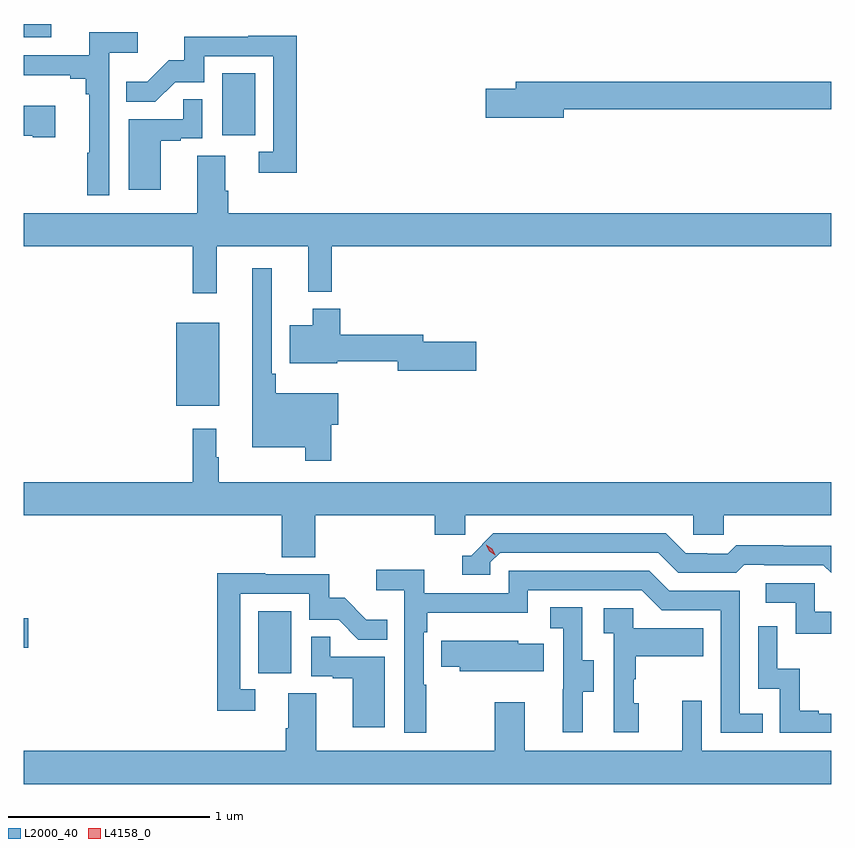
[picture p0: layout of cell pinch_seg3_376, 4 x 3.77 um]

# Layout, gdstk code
import gdstk
lib = gdstk.Library(unit=1e-6, precision=1e-09)
def R(c, l, rs):  # rectangles x0, y0, x1, y1
    for r in rs: c.add(gdstk.rectangle(r[:2], r[2:], *l))
def P(c, l, *ps):  # polygons
    for p in ps: c.add(gdstk.Polygon(p, *l))
L2000_40 = (2000, 40)
L4158_0 = (4158, 0)

pinch_seg3_376 = lib.new_cell('pinch_seg3_376')
R(pinch_seg3_376, L2000_40, [(998.264,694.806,998.428,695.113), (997.102,694.931,997.123,695.078), (997.856,696.131,998.071,696.541), (998.084,697.47,998.248,697.777), (997.102,697.956,997.237,698.022)])
P(pinch_seg3_376, L2000_40, [(997.524,697.88),(997.666,697.88),(997.666,697.982),(997.427,697.982),(997.427,697.866),(997.102,697.866),(997.102,697.769),(997.331,697.769),(997.331,697.75),(997.408,697.75),(997.408,697.673),(997.427,697.673),(997.427,697.385),(997.416,697.385),(997.416,697.173),(997.524,697.173)],
  [(998.453,697.964),(998.215,697.964),(998.215,697.959),(997.897,697.959),(997.897,697.842),(997.82,697.842),(997.713,697.735),(997.609,697.735),(997.609,697.636),(997.753,697.636),(997.851,697.734),(997.995,697.734),(997.995,697.863),(998.337,697.863),(998.337,697.389),(998.265,697.389),(998.265,697.284),(998.453,697.284)],
  [(999.778,697.6),(1001.102,697.6),(1001.102,697.736),(999.539,697.736),(999.539,697.7),(999.39,697.7),(999.39,697.558),(999.778,697.558)],
  [(997.78,697.443),(997.88,697.443),(997.88,697.455),(997.986,697.455),(997.986,697.649),(997.891,697.649),(997.891,697.551),(997.622,697.551),(997.622,697.2),(997.78,697.2)],
  [(997.258,697.618),(997.102,697.618),(997.102,697.469),(997.145,697.469),(997.145,697.462),(997.258,697.462)],
  [(998.101,697.196),(998.101,697.37),(997.961,697.37),(997.961,697.084),(997.102,697.084),(997.102,696.92),(997.939,696.92),(997.939,696.687),(998.057,696.687),(998.057,696.92),(998.51,696.92),(998.51,696.695),(998.627,696.695),(998.627,696.92),(1001.102,696.92),(1001.102,697.084),(998.114,697.084),(998.114,697.196)],
  [(998.624,696.035),(998.659,696.035),(998.659,696.193),(998.351,696.193),(998.351,696.289),(998.331,696.289),(998.331,696.811),(998.234,696.811),(998.234,695.924),(998.496,695.924),(998.496,695.859),(998.624,695.859)],
  [(999.343,696.447),(999.082,696.447),(999.082,696.481),(998.669,696.481),(998.669,696.61),(998.534,696.61),(998.534,696.529),(998.42,696.529),(998.42,696.341),(998.656,696.341),(998.656,696.352),(998.954,696.352),(998.954,696.305),(999.343,696.305)],
  [(998.546,695.588),(999.137,695.588),(999.137,695.49),(999.288,695.49),(999.288,695.588),(1000.419,695.588),(1000.419,695.49),(1000.569,695.49),(1000.569,695.588),(1001.102,695.588),(1001.102,695.752),(998.068,695.752),(998.068,695.876),(998.056,695.876),(998.056,696.016),(997.939,696.016),(997.939,695.752),(997.102,695.752),(997.102,695.588),(998.381,695.588),(998.381,695.38),(998.546,695.38)],
  [(999.414,695.355),(999.462,695.403),(1000.245,695.403),(1000.344,695.304),(1000.633,695.304),(1000.672,695.343),(1000.771,695.343),(1000.771,695.34),(1001.064,695.34),(1001.102,695.302),(1001.102,695.437),(1000.866,695.437),(1000.866,695.44),(1000.633,695.44),(1000.591,695.397),(1000.488,695.397),(1000.488,695.4),(1000.381,695.4),(1000.282,695.499),(999.429,695.499),(999.318,695.388),(999.275,695.388),(999.275,695.292),(999.414,695.292)],
  [(999.097,694.748),(999.084,694.748),(999.084,695.009),(999.101,695.009),(999.101,695.105),(999.6,695.105),(999.6,695.217),(1000.164,695.217),(1000.263,695.118),(1000.554,695.118),(1000.554,694.509),(1000.763,694.509),(1000.763,694.605),(1000.65,694.605),(1000.65,695.214),(1000.3,695.214),(1000.201,695.313),(999.504,695.313),(999.504,695.202),(999.086,695.202),(999.086,695.318),(998.847,695.318),(998.847,695.216),(998.988,695.216),(998.988,694.509),(999.097,694.509)],
  [(998.248,694.725),(998.175,694.725),(998.175,695.199),(998.517,695.199),(998.517,695.07),(998.661,695.07),(998.759,694.972),(998.903,694.972),(998.903,695.071),(998.799,695.071),(998.692,695.178),(998.616,695.178),(998.616,695.295),(998.297,695.295),(998.297,695.3),(998.059,695.3),(998.059,694.62),(998.248,694.62)],
  [(1001.102,695.109),(1001.022,695.109),(1001.022,695.25),(1000.779,695.25),(1000.779,695.154),(1000.926,695.154),(1000.926,695.001),(1001.102,695.001)],
  [(999.871,694.714),(999.925,694.714),(999.925,694.869),(999.87,694.869),(999.87,695.132),(999.711,695.132),(999.711,695.029),(999.774,695.029),(999.774,694.725),(999.773,694.725),(999.773,694.512),(999.871,694.512)],
  [(1000.15,694.656),(1000.125,694.656),(1000.125,694.775),(1000.135,694.775),(1000.135,694.889),(1000.469,694.889),(1000.469,695.029),(1000.122,695.029),(1000.122,695.127),(999.975,695.127),(999.975,695.003),(1000.026,695.003),(1000.026,694.512),(1000.15,694.512)],
  [(1001.102,694.605),(1001.041,694.605),(1001.041,694.618),(1000.946,694.618),(1000.946,694.826),(1000.836,694.826),(1000.836,695.038),(1000.74,695.038),(1000.74,694.728),(1000.848,694.728),(1000.848,694.509),(1001.102,694.509)],
  [(998.89,694.887),(998.621,694.887),(998.621,694.985),(998.526,694.985),(998.526,694.791),(998.633,694.791),(998.633,694.779),(998.732,694.779),(998.732,694.536),(998.89,694.536)],
  [(999.677,694.951),(999.552,694.951),(999.552,694.966),(999.28,694.966),(999.28,694.965),(999.169,694.965),(999.169,694.837),(999.263,694.837),(999.263,694.814),(999.677,694.814)],
  [(1001.102,694.42),(1000.461,694.42),(1000.461,694.669),(1000.364,694.669),(1000.364,694.42),(999.583,694.42),(999.583,694.66),(999.436,694.66),(999.436,694.42),(998.551,694.42),(998.551,694.706),(998.411,694.706),(998.411,694.532),(998.399,694.532),(998.399,694.42),(997.102,694.42),(997.102,694.256),(1001.102,694.256)])
P(pinch_seg3_376, L4158_0, [(999.438,695.389),(999.408,695.409),(999.392,695.442),(999.392,695.442),(999.392,695.442),(999.423,695.422),(999.438,695.39),(999.438,695.389)])

lib.write_gds('pinch_seg3_376.gds')
